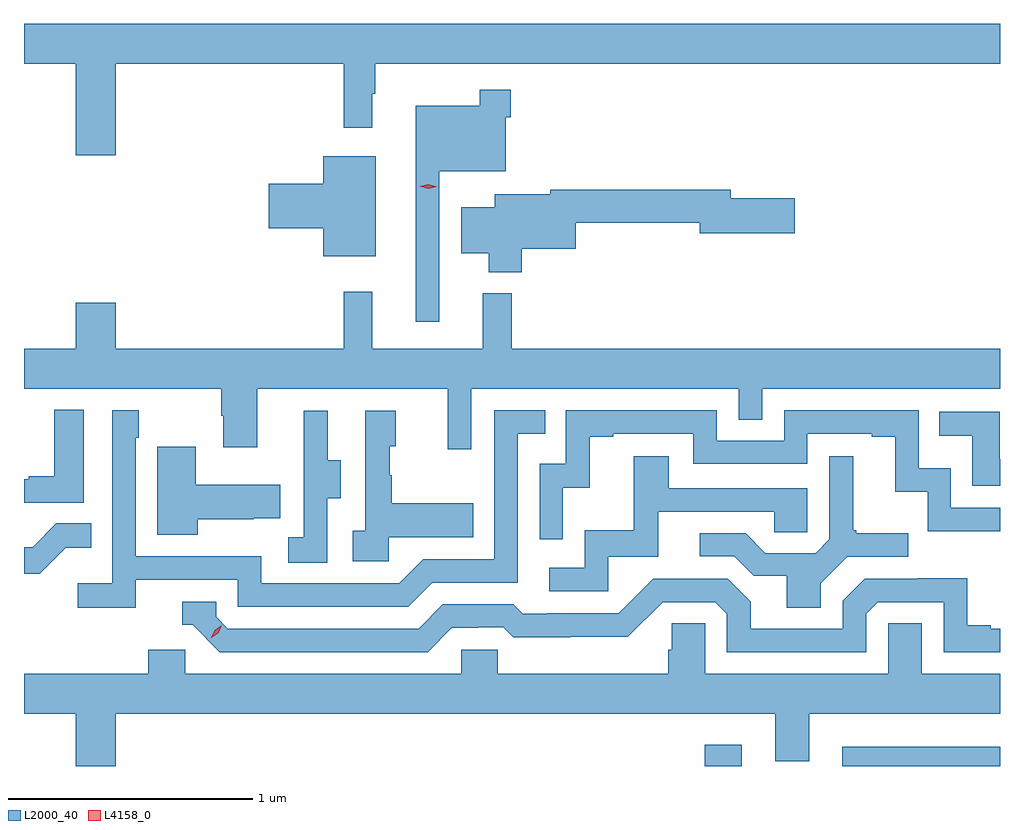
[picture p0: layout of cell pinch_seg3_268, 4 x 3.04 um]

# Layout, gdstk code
import gdstk
lib = gdstk.Library(unit=1e-6, precision=1e-09)
def R(c, l, rs):  # rectangles x0, y0, x1, y1
    for r in rs: c.add(gdstk.rectangle(r[:2], r[2:], *l))
def P(c, l, *ps):  # polygons
    for p in ps: c.add(gdstk.Polygon(p, *l))
L2000_40 = (2000, 40)
L4158_0 = (4158, 0)

pinch_seg3_268 = lib.new_cell('pinch_seg3_268')
R(pinch_seg3_268, L2000_40, [(898.853,711.357,899.005,711.445), (899.417,711.357,900.063,711.436)])
P(pinch_seg3_268, L2000_40, [(896.44,714.236),(897.373,714.236),(897.373,713.973),(897.49,713.973),(897.49,714.113),(897.502,714.113),(897.502,714.236),(900.063,714.236),(900.063,714.4),(896.063,714.4),(896.063,714.236),(896.276,714.236),(896.276,713.862),(896.44,713.862)],
  [(897.765,713.795),(898.038,713.795),(898.038,714.017),(898.058,714.017),(898.058,714.13),(897.93,714.13),(897.93,714.064),(897.668,714.064),(897.668,713.178),(897.765,713.178)],
  [(897.505,713.857),(897.29,713.857),(897.29,713.744),(897.066,713.744),(897.066,713.561),(897.29,713.561),(897.29,713.447),(897.505,713.447)],
  [(898.103,713.477),(898.324,713.477),(898.324,713.584),(898.832,713.584),(898.832,713.542),(899.221,713.542),(899.221,713.684),(898.96,713.684),(898.96,713.72),(898.22,713.72),(898.22,713.701),(897.992,713.701),(897.992,713.647),(897.854,713.647),(897.854,713.459),(897.968,713.459),(897.968,713.381),(898.103,713.381)],
  [(897.897,712.904),(898.992,712.904),(898.992,712.777),(899.088,712.777),(899.088,712.904),(900.063,712.904),(900.063,713.068),(898.061,713.068),(898.061,713.296),(897.944,713.296),(897.944,713.068),(897.491,713.068),(897.491,713.302),(897.373,713.302),(897.373,713.068),(896.44,713.068),(896.44,713.257),(896.276,713.257),(896.276,713.068),(896.063,713.068),(896.063,712.904),(896.872,712.904),(896.872,712.793),(896.879,712.793),(896.879,712.665),(897.019,712.665),(897.019,712.904),(897.8,712.904),(897.8,712.656),(897.897,712.656)],
  [(896.308,712.819),(896.186,712.819),(896.186,712.546),(896.083,712.546),(896.083,712.533),(896.063,712.533),(896.063,712.437),(896.308,712.437)],
  [(896.522,712.122),(896.94,712.122),(896.94,712.011),(897.637,712.011),(897.736,712.11),(898.086,712.11),(898.086,712.719),(898.199,712.719),(898.199,712.815),(897.99,712.815),(897.99,712.206),(897.699,712.206),(897.6,712.107),(897.036,712.107),(897.036,712.218),(896.52,712.218),(896.52,712.703),(896.533,712.703),(896.533,712.816),(896.424,712.816),(896.424,712.108),(896.283,712.108),(896.283,712.006),(896.522,712.006)],
  [(898.272,712.499),(898.382,712.499),(898.382,712.707),(898.477,712.707),(898.477,712.719),(898.806,712.719),(898.806,712.596),(899.274,712.596),(899.274,712.719),(899.537,712.719),(899.537,712.707),(899.633,712.707),(899.633,712.481),(899.766,712.481),(899.766,712.32),(900.063,712.32),(900.063,712.416),(899.862,712.416),(899.862,712.579),(899.73,712.579),(899.73,712.815),(899.178,712.815),(899.178,712.692),(898.902,712.692),(898.902,712.815),(898.284,712.815),(898.284,712.596),(898.176,712.596),(898.176,712.287),(898.272,712.287)],
  [(897.558,712.295),(897.905,712.295),(897.905,712.435),(897.571,712.435),(897.571,712.55),(897.561,712.55),(897.561,712.668),(897.586,712.668),(897.586,712.813),(897.462,712.813),(897.462,712.322),(897.411,712.322),(897.411,712.197),(897.558,712.197)],
  [(897.306,712.456),(897.361,712.456),(897.361,712.611),(897.307,712.611),(897.307,712.813),(897.209,712.813),(897.209,712.599),(897.21,712.599),(897.21,712.295),(897.147,712.295),(897.147,712.192),(897.306,712.192)],
  [(900.063,712.615),(900.061,712.615),(900.061,712.809),(899.815,712.809),(899.815,712.712),(899.95,712.712),(899.95,712.506),(900.063,712.506)],
  [(896.775,712.37),(897.005,712.37),(897.005,712.373),(897.113,712.373),(897.113,712.51),(896.767,712.51),(896.767,712.666),(896.609,712.666),(896.609,712.305),(896.775,712.305)],
  [(899.329,712.108),(899.436,712.215),(899.686,712.215),(899.686,712.312),(899.473,712.312),(899.473,712.324),(899.461,712.324),(899.461,712.627),(899.364,712.627),(899.364,712.287),(899.307,712.23),(899.101,712.23),(899.02,712.311),(898.833,712.311),(898.833,712.218),(898.974,712.218),(899.054,712.138),(899.189,712.138),(899.189,712.006),(899.329,712.006)],
  [(898.458,712.215),(898.663,712.215),(898.663,712.401),(899.137,712.401),(899.137,712.317),(899.274,712.317),(899.274,712.497),(898.705,712.497),(898.705,712.627),(898.561,712.627),(898.561,712.324),(898.362,712.324),(898.362,712.17),(898.215,712.17),(898.215,712.074),(898.458,712.074)],
  [(896.235,712.253),(896.339,712.253),(896.339,712.352),(896.196,712.352),(896.098,712.254),(896.063,712.254),(896.063,712.146),(896.128,712.146)],
  [(897.817,711.924),(897.924,711.924),(897.924,711.927),(898.027,711.927),(898.069,711.885),(898.302,711.885),(898.302,711.887),(898.538,711.887),(898.68,712.029),(898.896,712.029),(898.944,711.981),(898.944,711.825),(899.514,711.825),(899.514,711.981),(899.562,712.029),(899.832,712.029),(899.832,711.825),(900.063,711.825),(900.063,711.921),(900.025,711.921),(900.025,711.934),(899.929,711.934),(899.929,712.127),(899.724,712.127),(899.724,712.125),(899.508,712.125),(899.418,712.035),(899.418,711.921),(899.041,711.921),(899.041,712.031),(898.947,712.125),(898.641,712.125),(898.5,711.984),(898.207,711.984),(898.207,711.981),(898.108,711.981),(898.069,712.02),(897.78,712.02),(897.681,711.921),(896.898,711.921),(896.85,711.969),(896.85,712.032),(896.711,712.032),(896.711,711.936),(896.754,711.936),(896.865,711.825),(897.718,711.825)],
  [(896.44,711.572),(899.141,711.572),(899.141,711.378),(899.281,711.378),(899.281,711.572),(900.063,711.572),(900.063,711.736),(899.743,711.736),(899.743,711.944),(899.604,711.944),(899.604,711.736),(898.854,711.736),(898.854,711.944),(898.717,711.944),(898.717,711.834),(898.703,711.834),(898.703,711.736),(898.005,711.736),(898.005,711.834),(897.855,711.834),(897.855,711.736),(896.724,711.736),(896.724,711.834),(896.573,711.834),(896.573,711.736),(896.063,711.736),(896.063,711.572),(896.276,711.572),(896.276,711.357),(896.44,711.357)])
P(pinch_seg3_268, L4158_0, [(897.719,713.723),(897.684,713.734),(897.683,713.734),(897.684,713.735),(897.719,713.743),(897.754,713.732),(897.755,713.732),(897.754,713.732)],
  [(896.828,711.882),(896.828,711.882),(896.844,711.915),(896.874,711.935),(896.874,711.935),(896.874,711.935),(896.859,711.902),(896.828,711.882)])

lib.write_gds('pinch_seg3_268.gds')
